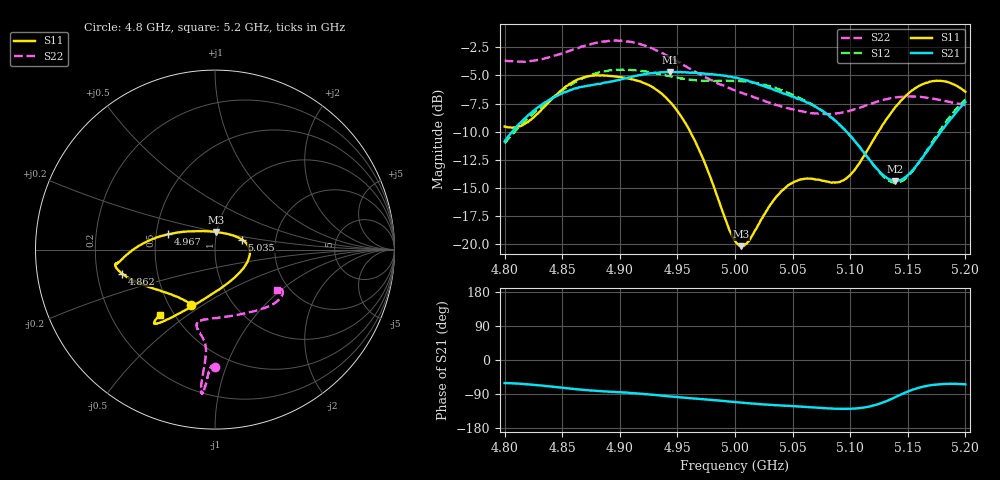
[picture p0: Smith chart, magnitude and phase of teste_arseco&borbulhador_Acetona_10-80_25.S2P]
! Network Analyzer HP8722D
! Hewlett-Packard
! Data name: Linha & Wilkinson
! Saver's name: Rodrigo Anjos
! Comments: Teste da utilização de aquisição
! continua pelo VNA HP8722D
! Time and date: 17/4/2025 14:34
!  Frequency  S11  S21  S12  S22
# HZ  S  MA R 50
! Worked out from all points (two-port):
!   401 points, 4.8 GHz to 5.2 GHz, reference 50 ohm
!   highest |S21| = -4.68 dB at 4.944 GHz (marker M1); lowest = -14.4 dB at 5.139 GHz (marker M2)
!   |S21| within 3 dB of the highest: 4.831 GHz to 5.068 GHz (236.6 MHz wide, 4.78 % of centre); 5.197176 GHz to end of sweep
!   lowest |S11| = -20.2 dB at 5.005 GHz (marker M3), VSWR 1.22, Z = 49.9 + j9.82 ohm
!   |S11| at or under -10 dB: 4.961 GHz to 5.124 GHz (163.3 MHz wide, 3.24 % of centre)
!   |S22| runs from -8.5 to -1.9 dB; largest |S21 - S12| = 0.88
!   S11 on the Smith chart (normalised r, x): 4.8 GHz: 0.65, -0.45; 4.862 GHz: 0.31, -0.12; 4.967 GHz: 0.58, +0.11; 5.035 GHz: 1.34, +0.15; 5.2 GHz: 0.42, -0.39
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4.8e9  0.3334 -113.2  0.2863 -60.8  0.2802 -175.1  0.6553 -89.9
4.819e9  0.347 -133.0  0.3677 -63.9  0.3569 -173.5  0.6505 -91.5
4.862e9  0.5352 -165.5  0.4942 -77.0  0.5284 -176.7  0.7421 -93.7
4.867e9  0.5482 -167.5  0.5003 -78.3  0.5439 -177.6  0.7573 -93.9
4.903e9  0.5508 -172.1  0.5422 -85.7  0.5974 175.1  0.8017 -95.4
4.934e9  0.477 -178.1  0.5796 -93.5  0.5735 172.0  0.7182 -95.6
4.944e9  0.427 177.3  0.5837 -96.2  0.5569 171.9  0.6754 -95.4
4.967e9  0.2756 162.0  0.5766 -102.1  0.5342 173.9  0.5771 -95.1
5e9  0.1032 102.8  0.5502 -111.0  0.5327 176.2  0.4827 -99.1
5.005e9  0.09786 85.2  0.5418 -112.4  0.5293 176.3  0.471 -100.3
5.012e9  0.103 62.5  0.5296 -114.1  0.5262 176.0  0.458 -101.9
5.035e9  0.1602 20.5  0.4823 -119.2  0.496 174.8  0.4176 -103.3
5.05e9  0.1876 5.2  0.4533 -121.8  0.4619 174.2  0.3984 -99.7
5.067e9  0.1951 -12.8  0.4159 -124.9  0.4184 173.7  0.3817 -90.9
5.088e9  0.1882 -46.9  0.3511 -128.7  0.3488 173.6  0.3812 -74.9
5.098e9  0.1989 -67.6  0.3119 -128.7  0.3115 174.6  0.3895 -66.7
5.134e9  0.3744 -116.1  0.1941 -105.1  0.1909 -158.0  0.4443 -43.0
5.139e9  0.4056 -119.1  0.1909 -98.2  0.1875 -150.1  0.4489 -40.8
5.151e9  0.4696 -124.2  0.2049 -82.1  0.2025 -131.4  0.4542 -36.3
5.17e9  0.5284 -128.6  0.2735 -66.5  0.2782 -112.7  0.4449 -31.9
5.185e9  0.5249 -130.0  0.3479 -63.1  0.3603 -107.1  0.4302 -31.0
5.2e9  0.4759 -130.4  0.4277 -64.3  0.44 -106.3  0.4147 -33.2
